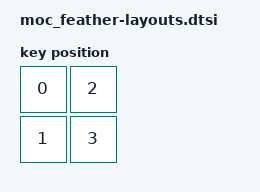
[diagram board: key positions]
#include <physical_layouts.dtsi>

/ {
    physical_layout0: physical_layout_0 {
        compatible = "zmk,physical-layout";
        display-name = "Default";

        keys  //                     w   h    x    y     rot    rx    ry
            = <&key_physical_attrs 100 100  100  100       0     0     0>
            , <&key_physical_attrs 100 100  100  200       0     0     0>
            , <&key_physical_attrs 100 100  200  100       0     0     0>
            , <&key_physical_attrs 100 100  200  200       0     0     0>
            ;
    };
};
